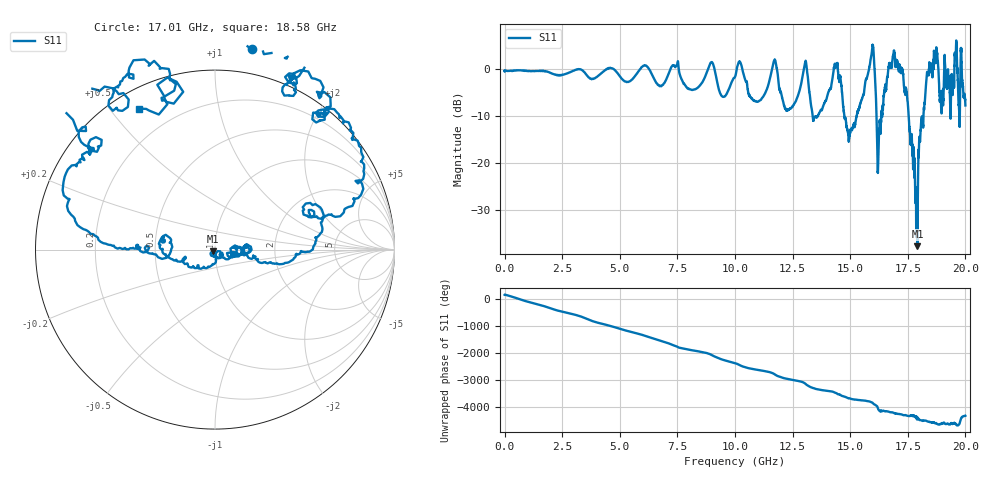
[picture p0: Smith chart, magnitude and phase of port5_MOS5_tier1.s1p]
! Created with skrf 1.8.0 (http://scikit-rf.org).
# GHz S RI R 50.0
!freq ReS11 ImS11
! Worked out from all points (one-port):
!   10001 points, 1 MHz to 20 GHz, reference 50 ohm
!   lowest |S11| = -37.6 dB at 17.92 GHz (marker M1), VSWR 1.03, Z = 49.1 - j0.927 ohm
!   |S11| at or under -10 dB: 13.37 GHz to 13.59 GHz (214.1 MHz wide, 1.59 % of centre); 14.75 GHz to 15.28 GHz (530.1 MHz wide, 3.53 % of centre); 17.54 GHz to 18.18 GHz (639.6 MHz wide, 3.58 % of centre) (the widest 3 of 7)
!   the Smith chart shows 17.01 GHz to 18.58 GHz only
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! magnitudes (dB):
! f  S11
! 1 MHz  -0.5
! 2.501 GHz  -1.2
! 5.001 GHz  -1.5
! 7.501 GHz  1.2
! 8.187 GHz  -4.4
! 8.999 GHz  1.5
! 9.491 GHz  -5.9
! 10 GHz  -1.7
! 11.02 GHz  -6.9
! 11.72 GHz  2.0
! 12.16 GHz  -8.3
! 12.5 GHz  -7.9
! 13.05 GHz  1.6
! 13.49 GHz  -10.2
! 14.38 GHz  0.6
! 15 GHz  -13.5
! 15.94 GHz  3.5
! 16.24 GHz  -15.4
! 16.84 GHz  2.4
! 17.5 GHz  -7.1
! 17.83 GHz  -27.6
! 17.92 GHz  -37.6
! 18.05 GHz  -13.8
! 18.35 GHz  -0.9
! 18.7 GHz  1.7
! 18.96 GHz  -8.8
! 19.57 GHz  2.9
! 20 GHz  -7.7
